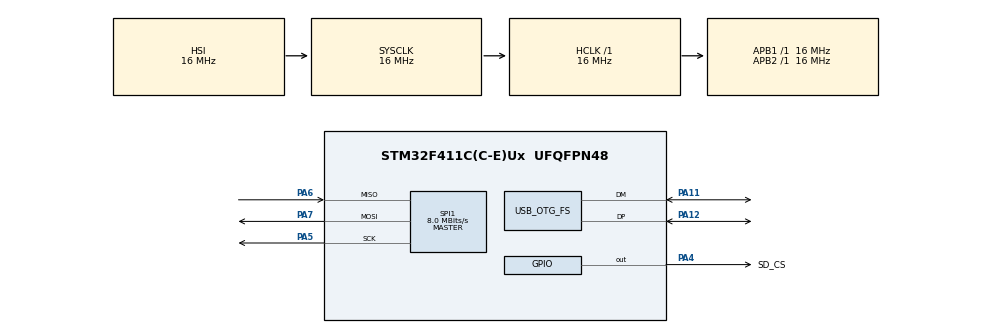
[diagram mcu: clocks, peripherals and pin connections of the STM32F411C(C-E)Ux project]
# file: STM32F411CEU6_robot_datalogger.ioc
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FATFS._FS_REENTRANT=0
FATFS._MAX_SS=4096
FATFS._USE_LFN=1
FREERTOS.Tasks01=defaultTask,24,1024,StartDefaultTask,Default,NULL,Static,defaultTaskBuffer,defaultTaskControlBlock
FREERTOS.configUSE_DAEMON_TASK_STARTUP_HOOK=0
FREERTOS.configUSE_NEWLIB_REENTRANT=1
Mcu.Family=STM32F4
Mcu.Name=STM32F411C(C-E)Ux
Mcu.Package=UFQFPN48
NVIC.OTG_FS_IRQn=true\:5\:0\:false\:false\:true\:true\:true\:true\:true
NVIC.PriorityGroup=NVIC_PRIORITYGROUP_4
NVIC.TIM1_UP_TIM10_IRQn=true\:15\:0\:false\:false\:true\:false\:false\:true\:true
NVIC.TimeBase=TIM1_UP_TIM10_IRQn
NVIC.TimeBaseIP=TIM1
PA11.Mode=Device_Only
PA11.Signal=USB_OTG_FS_DM
PA12.Mode=Device_Only
PA12.Signal=USB_OTG_FS_DP
PA13.Mode=Serial_Wire
PA13.Signal=SYS_JTMS-SWDIO
PA14.Mode=Serial_Wire
PA14.Signal=SYS_JTCK-SWCLK
PA4.GPIO_Label=SD_CS
PA4.Signal=GPIO_Output
PA5.Mode=Full_Duplex_Master
PA5.Signal=SPI1_SCK
PA6.Mode=Full_Duplex_Master
PA6.Signal=SPI1_MISO
PA7.Mode=Full_Duplex_Master
PA7.Signal=SPI1_MOSI
PC14-OSC32_IN.Mode=LSE-External-Oscillator
PC14-OSC32_IN.Signal=RCC_OSC32_IN
PC15-OSC32_OUT.Mode=LSE-External-Oscillator
PC15-OSC32_OUT.Signal=RCC_OSC32_OUT
PH0\ -\ OSC_IN.Mode=HSE-External-Oscillator
PH0\ -\ OSC_IN.Signal=RCC_OSC_IN
PH1\ -\ OSC_OUT.Mode=HSE-External-Oscillator
PH1\ -\ OSC_OUT.Signal=RCC_OSC_OUT
ProjectManager.HeapSize=0x200
ProjectManager.StackSize=0x400
ProjectManager.TargetToolchain=STM32CubeIDE
RCC.48MHZClocksFreq_Value=48000000
RCC.AHBFreq_Value=16000000
RCC.APB1Freq_Value=16000000
RCC.APB2Freq_Value=16000000
RCC.CortexFreq_Value=16000000
RCC.HSE_VALUE=25000000
RCC.HSI_VALUE=16000000
RCC.PLLM=15
RCC.PLLN=144
RCC.PLLQ=5
RCC.PWR_Regulator_Voltage_Scale=PWR_REGULATOR_VOLTAGE_SCALE2
RCC.RCC_RTC_Clock_Source=RCC_RTCCLKSOURCE_LSE
RCC.RCC_RTC_Clock_SourceVirtual=RCC_RTCCLKSOURCE_LSE
RCC.SYSCLKFreq_VALUE=16000000
RCC.VCOOutputFreq_Value=240000000
SPI1.CalculateBaudRate=8.0 MBits/s
SPI1.Direction=SPI_DIRECTION_2LINES
SPI1.Mode=SPI_MODE_MASTER
SPI1.VirtualType=VM_MASTER
USB_DEVICE.APP_RX_DATA_SIZE=1024
USB_DEVICE.APP_TX_DATA_SIZE=1024
USB_DEVICE.CLASS_NAME_FS=CDC
USB_DEVICE.VirtualMode=Cdc
USB_DEVICE.VirtualModeFS=Cdc_FS
USB_OTG_FS.VirtualMode=Device_Only
VP_FATFS_VS_Generic.Mode=User_defined
VP_FREERTOS_VS_CMSIS_V2.Mode=CMSIS_V2
VP_RTC_VS_RTC_Activate.Mode=RTC_Enabled
VP_RTC_VS_RTC_Calendar.Mode=RTC_Calendar
VP_SYS_VS_tim1.Mode=TIM1
VP_TIM2_VS_ClockSourceINT.Mode=Internal
VP_USB_DEVICE_VS_USB_DEVICE_CDC_FS.Mode=CDC_FS
board=custom

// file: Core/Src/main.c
/* USER CODE BEGIN Header */
/**
  ******************************************************************************
  * @file           : main.c
  * @brief          : Main program body
  ******************************************************************************
  * @attention
  *
  * Copyright (c) 2024 STMicroelectronics.
  * All rights reserved.
  *
  * This software is licensed under terms that can be found in the LICENSE file
  * in the root directory of this software component.
  * If no LICENSE file comes with this software, it is provided AS-IS.
  *
  ******************************************************************************
  */
/* USER CODE END Header */
#include "main.h"
#include "cmsis_os.h"
#include "fatfs.h"
#include "rtc.h"
#include "spi.h"
#include "tim.h"
#include "usb_device.h"
#include "gpio.h"

/* USER CODE BEGIN Includes */
#include "SDcard.h"
/* USER CODE END Includes */

void SystemClock_Config(void);
void MX_FREERTOS_Init(void);

int main(void)
{

  /* MCU Configuration--------------------------------------------------------*/

  /* Reset of all peripherals, Initializes the Flash interface and the Systick. */
  HAL_Init();

  /* Configure the system clock */
  SystemClock_Config();

  /* Initialize all configured peripherals */
  MX_GPIO_Init();
  MX_SPI1_Init();
  MX_FATFS_Init();
  MX_RTC_Init();
  MX_TIM2_Init();

  /* Init scheduler */
  osKernelInitialize();

  /* Call init function for freertos objects (in cmsis_os2.c) */
  MX_FREERTOS_Init();

  /* Start scheduler */
  osKernelStart();

  /* We should never get here as control is now taken by the scheduler */

  /* Infinite loop */
  while (1)
  {

  }
}

void SystemClock_Config(void)
{
  RCC_OscInitTypeDef RCC_OscInitStruct = {0};
  RCC_ClkInitTypeDef RCC_ClkInitStruct = {0};

  /** Configure the main internal regulator output voltage
  */
  __HAL_RCC_PWR_CLK_ENABLE();
  __HAL_PWR_VOLTAGESCALING_CONFIG(PWR_REGULATOR_VOLTAGE_SCALE2);

  /** Initializes the RCC Oscillators according to the specified parameters
  * in the RCC_OscInitTypeDef structure.
  */
  RCC_OscInitStruct.OscillatorType = RCC_OSCILLATORTYPE_HSI|RCC_OSCILLATORTYPE_HSE
                              |RCC_OSCILLATORTYPE_LSE;
  RCC_OscInitStruct.HSEState = RCC_HSE_ON;
  RCC_OscInitStruct.LSEState = RCC_LSE_ON;
  RCC_OscInitStruct.HSIState = RCC_HSI_ON;
  RCC_OscInitStruct.HSICalibrationValue = RCC_HSICALIBRATION_DEFAULT;
  RCC_OscInitStruct.PLL.PLLState = RCC_PLL_ON;
  RCC_OscInitStruct.PLL.PLLSource = RCC_PLLSOURCE_HSE;
  RCC_OscInitStruct.PLL.PLLM = 15;
  RCC_OscInitStruct.PLL.PLLN = 144;
  RCC_OscInitStruct.PLL.PLLP = RCC_PLLP_DIV2;
  RCC_OscInitStruct.PLL.PLLQ = 5;
  if (HAL_RCC_OscConfig(&RCC_OscInitStruct) != HAL_OK)
  {
    Error_Handler();
  }

  /** Initializes the CPU, AHB and APB buses clocks
  */
  RCC_ClkInitStruct.ClockType = RCC_CLOCKTYPE_HCLK|RCC_CLOCKTYPE_SYSCLK
                              |RCC_CLOCKTYPE_PCLK1|RCC_CLOCKTYPE_PCLK2;
  RCC_ClkInitStruct.SYSCLKSource = RCC_SYSCLKSOURCE_HSI;
  RCC_ClkInitStruct.AHBCLKDivider = RCC_SYSCLK_DIV1;
  RCC_ClkInitStruct.APB1CLKDivider = RCC_HCLK_DIV1;
  RCC_ClkInitStruct.APB2CLKDivider = RCC_HCLK_DIV1;

  if (HAL_RCC_ClockConfig(&RCC_ClkInitStruct, FLASH_LATENCY_0) != HAL_OK)
  {
    Error_Handler();
  }
}

void HAL_TIM_PeriodElapsedCallback(TIM_HandleTypeDef *htim)
{
  if (htim->Instance == TIM1) {
    HAL_IncTick();
  }
}

void Error_Handler(void)
{
  __disable_irq();
  while (1)
  {
  }
}

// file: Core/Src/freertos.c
/* USER CODE BEGIN Header */
/**
  ******************************************************************************
  * File Name          : freertos.c
  * Description        : Code for freertos applications
  ******************************************************************************
  * @attention
  *
  * Copyright (c) 2022 STMicroelectronics.
  * All rights reserved.
  *
  * This software is licensed under terms that can be found in the LICENSE file
  * in the root directory of this software component.
  * If no LICENSE file comes with this software, it is provided AS-IS.
  *
  ******************************************************************************
  */
/* USER CODE END Header */

#include "FreeRTOS.h"
#include "task.h"
#include "main.h"
#include "cmsis_os.h"

/* USER CODE BEGIN Includes */
#include "SDcard.h"
/* USER CODE END Includes */

/* USER CODE BEGIN Variables */
DataParameter data_parameters[] = {
    {CORRENTE, 1, 3, 1},
    {VEL_ANG_MOTOR, 1, 3, 10},
    {ACEL_LIN, 3, 3, 10},
    {VEL_ANG_GIRO, 3, 3, 10},
    {CAMPO_MAG, 3, 3, 10},
    {A_CTRL_TRACAO, 1, 3, 1},
    {G_CTRL_TRACAO, 3, 9, 1},
    {G_CTRL_TRACAO_RX, 3, 9, 0},
    {A_CTRL_VEL, 1, 3, 10},
    {S_POINT_VEL, 1, 3, 10},
    {G_CTRL_VEL, 3, 9, 10},
    {G_CTRL_VEL_RX, 3, 9, 0},
    {ANG_ROT_BASE, 3, 3, 10},
    {GPS, 3, 3, 100},
    {A_CTRL_POSI, 1, 3, 100},
    {G_CTRL_POSI, 3, 3, 100},
    {G_CTRL_POSI_RX, 3, 3, 0}
};
/* USER CODE END Variables */
/* Definitions for defaultTask */
osThreadId_t defaultTaskHandle;
const osThreadAttr_t defaultTask_attributes = {
  .name = "defaultTask",
  .stack_size = 128 * 8,
  .priority = (osPriority_t) osPriorityNormal,
};

/* USER CODE BEGIN FunctionPrototypes */
void send_data(void* arg);
static bool start_send_data_tasks(void);
/* USER CODE END FunctionPrototypes */

void StartDefaultTask(void *argument);

extern void MX_USB_DEVICE_Init(void);
void MX_FREERTOS_Init(void); /* (MISRA C 2004 rule 8.1) */

void MX_FREERTOS_Init(void) {

  /* Create the thread(s) */
  /* creation of defaultTask */
  defaultTaskHandle = osThreadNew(StartDefaultTask, NULL, &defaultTask_attributes);

}

void StartDefaultTask(void *argument)
{
  /* init code for USB_DEVICE */
  MX_USB_DEVICE_Init();
  /* USER CODE BEGIN StartDefaultTask */

  vTaskDelay(3000);
  if(!SDcard_start()){
	  USB_PRINT("error starting sd card\n");
	  return;
  }
  if(!start_send_data_tasks()){
	  USB_PRINT("error starting send data tasks\n");
  }

  /* Infinite loop */
  for(;;)
  {
    vTaskDelay(1000);
  }
  /* USER CODE END StartDefaultTask */
}

/* USER CODE BEGIN Application */
void send_data(void* arg){
	DataParameter *params = (DataParameter *)arg;
	QueueHandle_t SDcard_queue = SDcard_get_queue_handle();
	uint16_t period_ms = params->period_ms;
	uint8_t array_size = (params->dimensions == 3) ? 3 : 1;
	uint8_t data_quantity = params->data_quantity;
	data_type_t type = params->type;
	char buf[35];
	int n = 0;
	int i;

	srand(type);
	TickType_t LastWakeTime = xTaskGetTickCount();

	for (;;) {
		if (n == 3) break;
		if (period_ms > 0) {
		            vTaskDelayUntil(&LastWakeTime, pdMS_TO_TICKS(period_ms));
		} else {
			// Delay aleatório entre 1 e 1000 ms para dados aperiódicos
			vTaskDelayUntil(&LastWakeTime, pdMS_TO_TICKS(rand() % 1000 + 1));
		}
		SD_data_t data = {
			.value = {rand() % 100, rand() % 100, rand() % 100},
			.data_type = type,
			.timestamp = LastWakeTime,
			.array_size = array_size,
		};
		for (i = 0; i < data_quantity; i++) {
			if (xQueueSend(SDcard_queue, (void*)&data, pdMS_TO_TICKS(period_ms) / 2) != pdTRUE) {
				sprintf(buf, "fail send data to queue - %d\n", data.data_type);
				USB_PRINT(buf);
			}
		}
		n++;
	}
	vTaskDelete(NULL);
}

static bool start_send_data_tasks(void){
	BaseType_t ret = pdTRUE;
	for (int i = 0; i < sizeof(data_parameters) / sizeof(DataParameter); i++) {
	    ret = xTaskCreate(send_data,
				"send_data",
				128 * 2,
				(void *) &data_parameters[i],
				25,
				NULL);
	    if (ret != pdPASS) return false;
	}

	return true;
}

/* USER CODE END Application */
